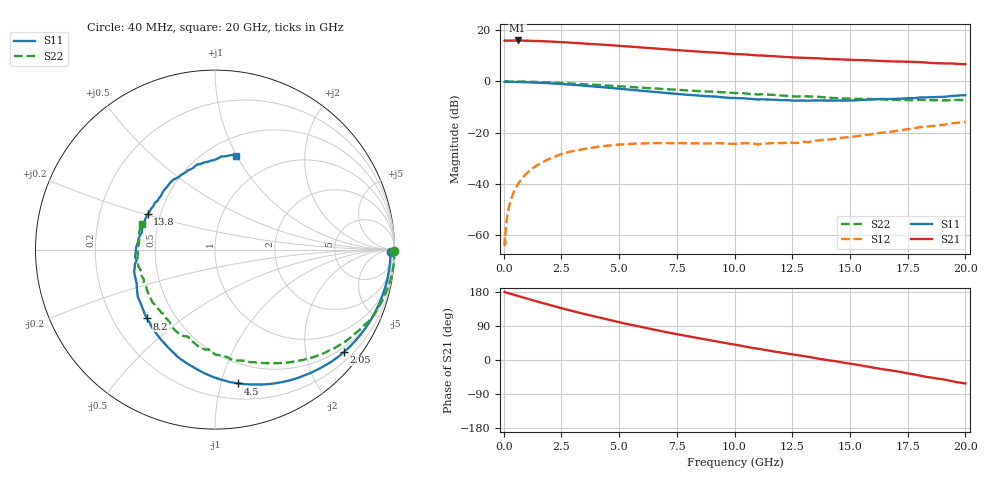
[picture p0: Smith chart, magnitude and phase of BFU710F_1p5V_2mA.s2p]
! Filename:  P:\Prog\Test\Noise\ATS_data\Testdata_Net\BFU710\BFU710_2W_A1_1.5V2mA_D.s2p
! Date/Time: Fri 29/Apr/2011 13:25:37
! BFU710_2W_A1_1.5V2mA
! bias mode 1: Vout= 1.5002 V, Iout= 2.0250 mA, Vin= 0.8015 V, Iin= 0.0063 mA
! Date/time Wed Mar 16 12:49:18 2011
! Device data file deembeded for feedlines and parallel
! Original file: \BFU710\BFU710_2W_A1_1.5V2mA_R.s2p
! Feed-files: PR003V01_101208_Feed1.s2p, PR003V01_101208_Feed2.s2p
! Parallel-file: PR003V01_101208_Par.s2p
# MHz S MA R 50
!  Freq-MHz  S11-mag  S11-arg  S21-mag  S21-arg  S12-mag  S12-arg  S22-mag  S22-arg
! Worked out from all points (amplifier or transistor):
!   167 points, 40 MHz to 20 GHz, reference 50 ohm
!   highest |S21| = 16.0 dB at 600 MHz (marker M1)
!   |S21| within 3 dB of that: start of sweep to 6.326 GHz
!   unconditionally stable (mu >= 1): 8.876 GHz to 17.98 GHz
!   at 550 MHz: K = 0.00, MSG = 28.6 dB, |S12| = -41.2 dB
!   at 4.2 GHz: K = 0.36, MSG = 19.9 dB, |S12| = -25.4 dB
!   at 20 GHz: K = 0.86, MSG = 11.3 dB, |S12| = -15.8 dB
!   S11 on the Smith chart (normalised r, x): 40 MHz: 67, -41; 2.05 GHz: 0.39, -2.81; 4.5 GHz: 0.32, -1.13; 8.2 GHz: 0.35, -0.37; 13.8 GHz: 0.43, +0.20; 20 GHz: 0.68, +0.99
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40  0.9786 -0.8  6.277 179.5  0.0006006 90.2  0.9994 -0.4
50  0.9755 -1.0  6.301 178.8  0.000904 56.1  0.9995 -0.5
60  0.979 -1.0  6.227 178.6  0.0006508 88.8  0.9997 -0.6
70  0.9788 -1.3  6.241 178.8  0.001011 90.4  0.9998 -0.7
100  0.9786 -1.9  6.266 178.2  0.001473 88.2  0.9997 -1.0
220  0.9779 -4.2  6.285 176.1  0.003362 90.2  0.9998 -2.3
600  0.9723 -11.4  6.316 169.2  0.009508 85.0  0.9968 -6.5
1400  0.9476 -26.5  6.178 155.1  0.02221 73.2  0.9788 -15.3
2050  0.9171 -38.5  6 144.0  0.03159 65.0  0.9568 -22.2
2700  0.8765 -50.2  5.795 133.5  0.04037 56.1  0.9231 -28.8
3400  0.831 -62.1  5.543 122.8  0.04694 47.8  0.8878 -35.3
4500  0.7566 -80.2  5.15 106.7  0.05547 36.7  0.8294 -44.8
5600  0.6796 -97.5  4.737 91.6  0.06038 26.8  0.7703 -53.8
6800  0.6064 -115.1  4.311 76.6  0.06213 18.3  0.7135 -62.6
8200  0.5396 -134.7  3.9 60.3  0.06168 12.6  0.6571 -72.6
10200  0.4696 -161.6  3.418 38.6  0.0607 9.4  0.5886 -87.5
11600  0.4406 179.8  3.134 23.7  0.06209 10.5  0.549 -99.5
13400  0.4239 157.4  2.844 6.1  0.0693 14.4  0.5063 -114.7
13800  0.4238 152.3  2.788 1.8  0.07188 14.2  0.4927 -119.1
16800  0.4537 116.3  2.464 -27.6  0.1037 10.8  0.4357 -151.6
18200  0.4843 99.2  2.354 -43.3  0.1292 3.4  0.4355 -171.8
20000  0.5351 77.6  2.164 -62.1  0.1618 -8.1  0.4302 160.3
